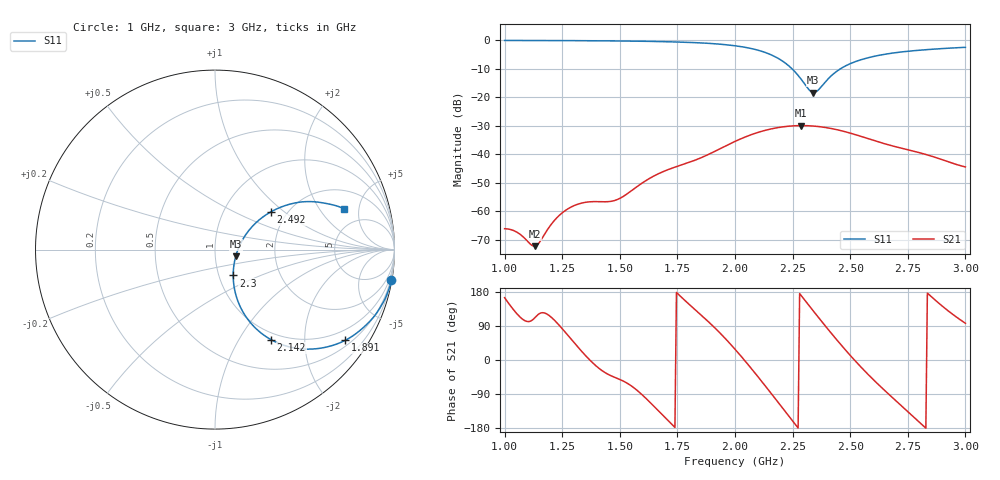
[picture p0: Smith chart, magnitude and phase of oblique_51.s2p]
! TOUCHSTONE file generated by CST MICROWAVE STUDIO
! Date and time: Tue Mar 18 00:01:16 2025
! Project name: oblique.cst
! Parameters = {Tilt=30; Fracture=1; B=10; D=160; F=25; Feed=2.85625; L=100; M=30; R=0.384908; S=2; Theta=270; length=57.125; wave=114.25}
! Header version: 2024
! Port assignment regex: !\s*Touchstone port\s*([0-9]+)\s*=\s*(CST MWS port|CST DES external port|CST DES block port)\s*(.+)\s* \(\"(.*)\"\)(\s*mode\s*([0-9]+))?.*
! Touchstone port assignment:
! Touchstone port 1 = CST MWS port 1 ("")
! Touchstone port 2 = CST MWS port 2 ("")
# GHz S DB R 50
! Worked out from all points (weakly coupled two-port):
!   304 points, 1 GHz to 3 GHz, reference 50 ohm
!   highest |S21| = -29.89 dB at 2.287 GHz (marker M1); lowest = -72.2 dB at 1.132 GHz (marker M2)
!   lowest |S11| = -18.3 dB at 2.34 GHz (marker M3), VSWR 1.28, Z = 62.9 - j4.76 ohm
!   |S11| at or under -10 dB: 2.248 GHz to 2.457 GHz (209 MHz wide, 8.88 % of centre)
!   S12 and S22 are empty: the file has one direction only
!   S11 on the Smith chart (normalised r, x): 1 GHz: 0, -12; 1.891 GHz: 0.66, -3.07; 2.142 GHz: 0.90, -1.39; 2.3 GHz: 1.17, -0.35; 2.492 GHz: 1.66, +0.82; 3 GHz: 3.32, +3.51
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1  -0.02 -9.8  -66.07 164.4  -200.00 0.0  -200.00 0.0
1.05281  -0.03 -10.5  -67.25 122.4  -200.00 0.0  -200.00 0.0
1.13201  -0.04 -11.7  -72.19 112.1  -200.00 0.0  -200.00 0.0
1.14521  -0.04 -11.9  -71.46 120.0  -200.00 0.0  -200.00 0.0
1.19802  -0.05 -12.8  -65.00 115.2  -200.00 0.0  -200.00 0.0
1.23762  -0.07 -13.4  -61.37 91.2  -200.00 0.0  -200.00 0.0
1.28383  -0.08 -14.2  -58.67 58.6  -200.00 0.0  -200.00 0.0
1.33663  -0.10 -15.3  -57.03 21.4  -200.00 0.0  -200.00 0.0
1.48845  -0.20 -18.6  -55.86 -48.4  -200.00 0.0  -200.00 0.0
1.66667  -0.40 -24.0  -46.82 -133.5  -200.00 0.0  -200.00 0.0
1.89109  -1.06 -34.8  -39.76 97.3  -200.00 0.0  -200.00 0.0
2.0033  -1.92 -43.3  -35.32 26.2  -200.00 0.0  -200.00 0.0
2.14191  -4.56 -58.1  -31.33 -76.5  -200.00 0.0  -200.00 0.0
2.22112  -8.13 -65.6  -30.20 -138.2  -200.00 0.0  -200.00 0.0
2.28713  -13.63 -60.3  -29.89 170.2  -200.00 0.0  -200.00 0.0
2.30033  -15.09 -54.8  -29.90 159.9  -200.00 0.0  -200.00 0.0
2.33993  -18.31 -17.9  -30.05 129.3  -200.00 0.0  -200.00 0.0
2.35974  -17.55 4.8  -30.20 114.2  -200.00 0.0  -200.00 0.0
2.43234  -11.41 33.1  -31.15 60.0  -200.00 0.0  -200.00 0.0
2.49175  -8.47 34.0  -32.34 17.9  -200.00 0.0  -200.00 0.0
2.66997  -4.62 27.1  -36.72 -91.8  -200.00 0.0  -200.00 0.0
3  -2.43 17.5  -44.39 97.0  -200.00 0.0  -200.00 0.0
